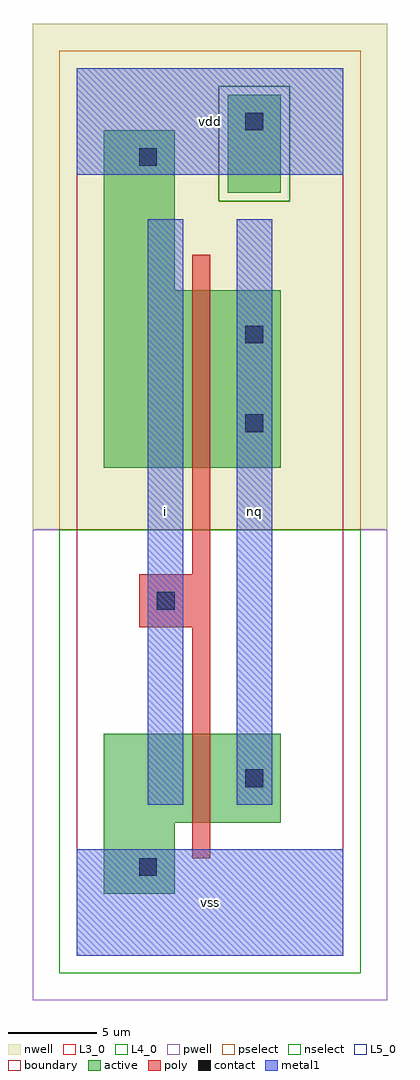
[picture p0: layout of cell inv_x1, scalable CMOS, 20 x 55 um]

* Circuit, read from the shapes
.subckt inv_x1 i nq vdd vss
M1 nq i vss VSUBS nfet w=5u l=1u
M2 nq i vdd vdd pfet w=10u l=1u
.ends

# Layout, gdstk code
import gdstk
lib = gdstk.Library(unit=1e-6, precision=1e-09)
def R(c, l, rs):  # rectangles x0, y0, x1, y1
    for r in rs: c.add(gdstk.rectangle(r[:2], r[2:], *l))
L3_0 = (3, 0)
L4_0 = (4, 0)
L5_0 = (5, 0)
contact = (25, 0)
pwell = (41, 0)
nwell = (42, 0)
active = (43, 0)
pselect = (44, 0)
nselect = (45, 0)
poly = (46, 0)
metal1 = (49, 0)
boundary = (63, 0)

inv_x1 = lib.new_cell('inv_x1')
R(inv_x1, L3_0, [(1.5,3.5,5.5,7.5), (1.5,7.5,11.5,12.5)])
R(inv_x1, L4_0, [(1.5,27.5,11.5,37.5), (1.5,37.5,5.5,46.5)])
R(inv_x1, L5_0, [(8.5,43,11.5,48.5)])
R(inv_x1, contact, [(3.5,4.5,4.5,5.5), (9.5,9.5,10.5,10.5), (4.5,19.5,5.5,20.5), (9.5,29.5,10.5,30.5), (9.5,34.5,10.5,35.5), (3.5,44.5,4.5,45.5), (9.5,46.5,10.5,47.5)])
R(inv_x1, pwell, [(-2.5,-2.5,17.5,24)])
R(inv_x1, nwell, [(-2.5,24,17.5,52.5)])
R(inv_x1, active, [(1.5,3.5,5.5,7.5), (1.5,7.5,11.5,12.5), (1.5,27.5,11.5,37.5), (1.5,37.5,5.5,46.5), (8.5,43,11.5,48.5)])
R(inv_x1, pselect, [(-1,24,16,42.5), (-1,42.5,8,49), (12,42.5,16,49), (-1,49,16,51)])
R(inv_x1, nselect, [(-1,-1,16,24), (8,42.5,12,49)])
R(inv_x1, poly, [(6.5,5.5,7.5,18.5), (3.5,18.5,7.5,21.5), (6.5,21.5,7.5,39.5)])
R(inv_x1, metal1, [(0,0,15,6), (0,0,15,6), (4,8.5,6,41.5), (4,8.5,6,41.5), (9,8.5,11,41.5), (9,8.5,11,41.5), (0,44,15,50), (0,44,15,50)])
R(inv_x1, boundary, [(0,0,15,50)])
inv_x1.add(gdstk.Label('vss', (7.5,3), layer=49, texttype=0))
inv_x1.add(gdstk.Label('i', (5,25), layer=49, texttype=0))
inv_x1.add(gdstk.Label('vdd', (7.5,47), layer=49, texttype=0))
inv_x1.add(gdstk.Label('nq', (10,25), layer=49, texttype=0))

lib.write_gds('inv_x1.gds')
